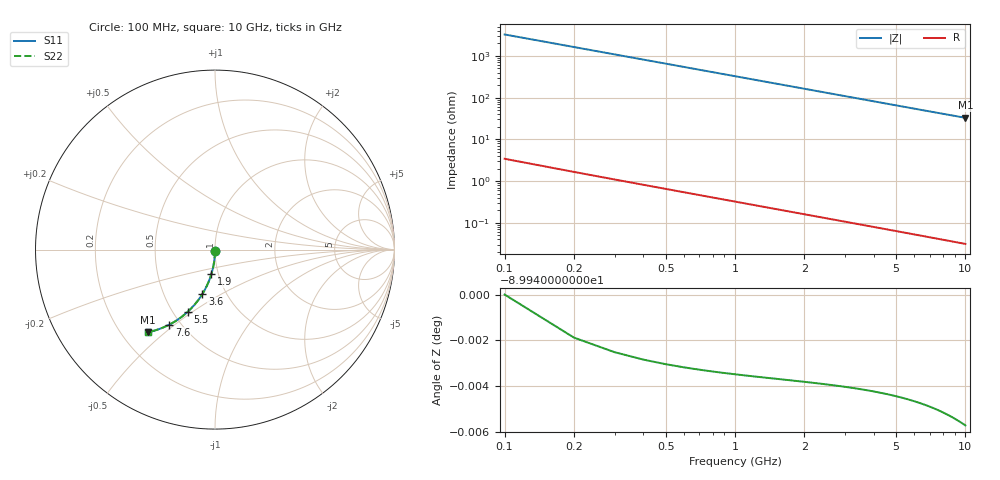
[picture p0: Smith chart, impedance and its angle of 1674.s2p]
# Hz S RI R 50.00
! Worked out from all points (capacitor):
!   100 points, 100 MHz to 10 GHz, reference 50 ohm
!   read as one part in shunt: C = 487 fF near 100 MHz
!   lowest |Z| = 32.9 ohm at 10 GHz (marker M1)
!   S11 on the Smith chart (normalised r, x): 100 MHz: 1.00, -0.01; 1.9 GHz: 0.92, -0.26; 3.6 GHz: 0.77, -0.41; 5.5 GHz: 0.59, -0.48; 7.6 GHz: 0.43, -0.48; 10 GHz: 0.31, -0.44
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1e8  -2e-05 -0.00742  0.9999 -0.00787  0.9999 -0.00787  -2e-05 -0.00742
2e8  -0.000202 -0.0148  0.9997 -0.0157  0.9997 -0.0157  -0.000202 -0.0148
3e8  -0.000501 -0.0222  0.9994 -0.0236  0.9994 -0.0236  -0.000501 -0.0222
4e8  -0.000917 -0.0297  0.999 -0.0314  0.999 -0.0314  -0.000917 -0.0297
5e8  -0.00145 -0.037  0.9985 -0.0393  0.9985 -0.0393  -0.00145 -0.037
6e8  -0.0021 -0.0444  0.9978 -0.0471  0.9978 -0.0471  -0.0021 -0.0444
8e8  -0.00374 -0.0591  0.9962 -0.0627  0.9962 -0.0627  -0.00374 -0.0591
1.1e9  -0.00705 -0.0811  0.9928 -0.086  0.9928 -0.086  -0.00705 -0.0811
1.4e9  -0.0114 -0.1027  0.9885 -0.109  0.9885 -0.109  -0.0114 -0.1027
1.8e9  -0.0187 -0.1311  0.9812 -0.1392  0.9812 -0.1392  -0.0187 -0.1311
1.9e9  -0.0208 -0.1381  0.9791 -0.1466  0.9791 -0.1466  -0.0208 -0.1381
2.2e9  -0.0277 -0.1588  0.9722 -0.1686  0.9722 -0.1686  -0.0277 -0.1588
2.6e9  -0.0382 -0.1856  0.9616 -0.1973  0.9616 -0.1973  -0.0382 -0.1856
3.4e9  -0.0637 -0.2363  0.9361 -0.2516  0.9361 -0.2516  -0.0637 -0.2363
3.6e9  -0.0709 -0.2482  0.9289 -0.2644  0.9289 -0.2644  -0.0709 -0.2482
4.3e9  -0.0983 -0.2877  0.9014 -0.3071  0.9014 -0.3071  -0.0983 -0.2877
5.1e9  -0.1331 -0.3279  0.8665 -0.3509  0.8665 -0.3509  -0.1331 -0.3279
5.5e9  -0.1516 -0.3459  0.8479 -0.3708  0.8479 -0.3708  -0.1516 -0.3459
6.7e9  -0.2101 -0.3918  0.7893 -0.4223  0.7893 -0.4223  -0.2101 -0.3918
7.6e9  -0.2554 -0.4184  0.7439 -0.4531  0.7439 -0.4531  -0.2554 -0.4184
8.4e9  -0.2957 -0.4368  0.7035 -0.4753  0.7035 -0.4753  -0.2957 -0.4368
1e10  -0.3739 -0.4604  0.6249 -0.5065  0.6249 -0.5065  -0.3739 -0.4604
